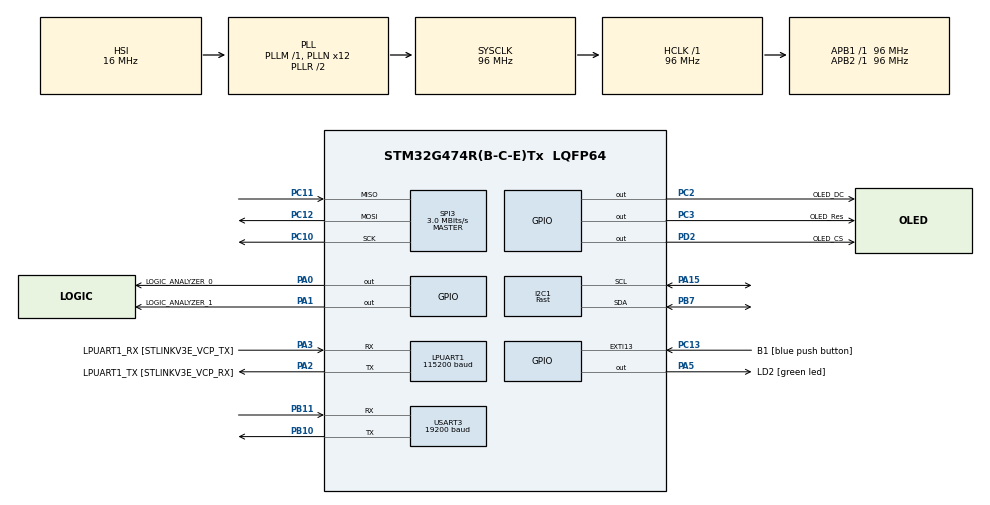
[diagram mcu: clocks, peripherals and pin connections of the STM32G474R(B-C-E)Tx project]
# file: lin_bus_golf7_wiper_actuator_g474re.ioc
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Dma.LPUART1_TX.2.Direction=DMA_MEMORY_TO_PERIPH
Dma.LPUART1_TX.2.EventEnable=DISABLE
Dma.LPUART1_TX.2.Instance=DMA1_Channel4
Dma.LPUART1_TX.2.MemDataAlignment=DMA_MDATAALIGN_BYTE
Dma.LPUART1_TX.2.MemInc=DMA_MINC_ENABLE
Dma.LPUART1_TX.2.Mode=DMA_NORMAL
Dma.LPUART1_TX.2.PeriphDataAlignment=DMA_PDATAALIGN_BYTE
Dma.LPUART1_TX.2.PeriphInc=DMA_PINC_DISABLE
Dma.LPUART1_TX.2.Polarity=HAL_DMAMUX_REQ_GEN_RISING
Dma.LPUART1_TX.2.Priority=DMA_PRIORITY_LOW
Dma.LPUART1_TX.2.RequestNumber=1
Dma.LPUART1_TX.2.SignalID=NONE
Dma.LPUART1_TX.2.SyncEnable=DISABLE
Dma.LPUART1_TX.2.SyncPolarity=HAL_DMAMUX_SYNC_NO_EVENT
Dma.LPUART1_TX.2.SyncRequestNumber=1
Dma.LPUART1_TX.2.SyncSignalID=NONE
Dma.Request0=USART3_RX
Dma.Request1=USART3_TX
Dma.Request2=LPUART1_TX
Dma.USART3_RX.0.Direction=DMA_PERIPH_TO_MEMORY
Dma.USART3_RX.0.EventEnable=DISABLE
Dma.USART3_RX.0.Instance=DMA1_Channel1
Dma.USART3_RX.0.MemDataAlignment=DMA_MDATAALIGN_BYTE
Dma.USART3_RX.0.MemInc=DMA_MINC_ENABLE
Dma.USART3_RX.0.Mode=DMA_NORMAL
Dma.USART3_RX.0.PeriphDataAlignment=DMA_PDATAALIGN_BYTE
Dma.USART3_RX.0.PeriphInc=DMA_PINC_DISABLE
Dma.USART3_RX.0.Polarity=HAL_DMAMUX_REQ_GEN_RISING
Dma.USART3_RX.0.Priority=DMA_PRIORITY_LOW
Dma.USART3_RX.0.RequestNumber=1
Dma.USART3_RX.0.SignalID=NONE
Dma.USART3_RX.0.SyncEnable=DISABLE
Dma.USART3_RX.0.SyncPolarity=HAL_DMAMUX_SYNC_NO_EVENT
Dma.USART3_RX.0.SyncRequestNumber=1
Dma.USART3_RX.0.SyncSignalID=NONE
Dma.USART3_TX.1.Direction=DMA_MEMORY_TO_PERIPH
Dma.USART3_TX.1.EventEnable=DISABLE
Dma.USART3_TX.1.Instance=DMA1_Channel2
Dma.USART3_TX.1.MemDataAlignment=DMA_MDATAALIGN_BYTE
Dma.USART3_TX.1.MemInc=DMA_MINC_ENABLE
Dma.USART3_TX.1.Mode=DMA_NORMAL
Dma.USART3_TX.1.PeriphDataAlignment=DMA_PDATAALIGN_BYTE
Dma.USART3_TX.1.PeriphInc=DMA_PINC_DISABLE
Dma.USART3_TX.1.Polarity=HAL_DMAMUX_REQ_GEN_RISING
Dma.USART3_TX.1.Priority=DMA_PRIORITY_LOW
Dma.USART3_TX.1.RequestNumber=1
Dma.USART3_TX.1.SignalID=NONE
Dma.USART3_TX.1.SyncEnable=DISABLE
Dma.USART3_TX.1.SyncPolarity=HAL_DMAMUX_SYNC_NO_EVENT
Dma.USART3_TX.1.SyncRequestNumber=1
Dma.USART3_TX.1.SyncSignalID=NONE
I2C1.I2C_Speed_Mode=I2C_Fast
I2C1.Timing=0x20611033
LPUART1.BaudRate=115200
LPUART1.WordLength=UART_WORDLENGTH_8B
Mcu.Family=STM32G4
Mcu.Name=STM32G474R(B-C-E)Tx
Mcu.Package=LQFP64
NVIC.DMA1_Channel1_IRQn=true\:0\:0\:false\:false\:true\:false\:true\:true
NVIC.DMA1_Channel2_IRQn=true\:0\:0\:false\:false\:true\:false\:true\:true
NVIC.DMA1_Channel4_IRQn=true\:0\:0\:false\:false\:true\:false\:true\:true
NVIC.EXTI15_10_IRQn=true\:0\:0\:false\:false\:true\:true\:true\:true
NVIC.PriorityGroup=NVIC_PRIORITYGROUP_4
NVIC.USART3_IRQn=true\:0\:0\:false\:false\:true\:true\:true\:true
PA0.GPIO_Label=LOGIC_ANALYZER_0
PA0.Signal=GPIO_Output
PA1.GPIO_Label=LOGIC_ANALYZER_1
PA1.Signal=GPIO_Output
PA13.GPIO_Label=T_SWDIO
PA13.Mode=Serial_Wire
PA13.Signal=SYS_JTMS-SWDIO
PA14.GPIO_Label=T_SWCLK
PA14.Mode=Serial_Wire
PA14.Signal=SYS_JTCK-SWCLK
PA15.Mode=I2C
PA15.Signal=I2C1_SCL
PA2.GPIO_Label=LPUART1_TX [STLINKV3E_VCP_RX]
PA2.Mode=Asynchronous
PA2.Signal=LPUART1_TX
PA3.GPIO_Label=LPUART1_RX [STLINKV3E_VCP_TX]
PA3.Mode=Asynchronous
PA3.Signal=LPUART1_RX
PA5.GPIO_Label=LD2 [green led]
PA5.Signal=GPIO_Output
PB10.Mode=LIN
PB10.Signal=USART3_TX
PB11.GPIO_PuPd=GPIO_PULLUP
PB11.Mode=LIN
PB11.Signal=USART3_RX
PB3.GPIO_Label=T_SWO
PB3.Signal=SYS_JTDO-SWO
PB7.Mode=I2C
PB7.Signal=I2C1_SDA
PC10.Mode=Full_Duplex_Master
PC10.Signal=SPI3_SCK
PC11.Mode=Full_Duplex_Master
PC11.Signal=SPI3_MISO
PC12.Mode=Full_Duplex_Master
PC12.Signal=SPI3_MOSI
PC13.GPIO_Label=B1 [blue push button]
PC13.Signal=GPXTI13
PC14-OSC32_IN.Mode=LSE-External-Oscillator
PC14-OSC32_IN.Signal=RCC_OSC32_IN
PC15-OSC32_OUT.Mode=LSE-External-Oscillator
PC15-OSC32_OUT.Signal=RCC_OSC32_OUT
PC2.GPIO_Label=OLED_DC
PC2.Signal=GPIO_Output
PC3.GPIO_Label=OLED_Res
PC3.Signal=GPIO_Output
PD2.GPIO_Label=OLED_CS
PD2.Signal=GPIO_Output
PF0-OSC_IN.Mode=HSE-External-Oscillator
PF0-OSC_IN.Signal=RCC_OSC_IN
PF1-OSC_OUT.Mode=HSE-External-Oscillator
PF1-OSC_OUT.Signal=RCC_OSC_OUT
ProjectManager.HeapSize=0x200
ProjectManager.StackSize=0x400
ProjectManager.TargetToolchain=STM32CubeIDE
RCC.ADC12Freq_Value=96000000
RCC.ADC345Freq_Value=96000000
RCC.AHBFreq_Value=96000000
RCC.APB1Freq_Value=96000000
RCC.APB1TimFreq_Value=96000000
RCC.APB2Freq_Value=96000000
RCC.APB2TimFreq_Value=96000000
RCC.CortexFreq_Value=96000000
RCC.EXTERNAL_CLOCK_VALUE=12288000
RCC.HCLKFreq_Value=96000000
RCC.HSE_VALUE=24000000
RCC.HSI48_VALUE=48000000
RCC.HSI_VALUE=16000000
RCC.PLLN=12
RCC.PLLQ=RCC_PLLQ_DIV4
RCC.RTCClockSelection=RCC_RTCCLKSOURCE_LSE
RCC.SYSCLKFreq_VALUE=96000000
RCC.SYSCLKSource=RCC_SYSCLKSOURCE_PLLCLK
RCC.USBFreq_Value=48000000
RCC.VCOOutputFreq_Value=192000000
SPI3.BaudRatePrescaler=SPI_BAUDRATEPRESCALER_32
SPI3.CalculateBaudRate=3.0 MBits/s
SPI3.DataSize=SPI_DATASIZE_8BIT
SPI3.Direction=SPI_DIRECTION_2LINES
SPI3.Mode=SPI_MODE_MASTER
SPI3.VirtualType=VM_MASTER
USART3.BaudRate=19200
USART3.MSBFirstParam=ADVFEATURE_MSBFIRST_DISABLE
USART3.Mode=MODE_TX_RX
USART3.VirtualMode-LIN=VM_LIN
VP_SYS_VS_DBSignals.Mode=DisableDeadBatterySignals
board=NUCLEO-G474RE

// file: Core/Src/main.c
/* USER CODE BEGIN Header */
/**
 ******************************************************************************
 * @file           : main.c
 * @brief          : Main program body
 ******************************************************************************
 * @attention
 *
 * Copyright (c) 2024 STMicroelectronics.
 * All rights reserved.
 *
 * This software is licensed under terms that can be found in the LICENSE file
 * in the root directory of this software component.
 * If no LICENSE file comes with this software, it is provided AS-IS.
 *
 ******************************************************************************
 */
/* USER CODE END Header */
#include "main.h"
#include "dma.h"
#include "i2c.h"
#include "usart.h"
#include "spi.h"
#include "gpio.h"

/* USER CODE BEGIN Includes */
#include <stdbool.h>
#include <stddef.h>
#include <stdio.h>
#include <stdlib.h>
#include <string.h>

#include "ssd1306.h"

// https://github.com/nayuki/QR-Code-generator
// https://www.nayuki.io/page/qr-code-generator-library
#include "qrcodegen.h"

/* USER CODE END Includes */

/* USER CODE BEGIN PD */
#define LIN_SEND_PERIOD 80
#define TX_BUFFER_SIZE 11
#define RX_BUFFER_SIZE 10

#define INT_MODE_ON 1
#define INT_MODE_OFF 0
#define INT_SPD1 1
#define INT_SPD2 5
#define INT_SPD3 9
#define INT_SPD4 13

#define SPD1_MODE_OFF 0
#define SPD1_MODE_ON 1
#define SPD2_MODE_OFF 0
#define SPD2_MODE_ON 1

#define SST_MODE_OFF 0
#define SST_MODE_ON 1
#define SST_MANUAL_INTERVAL 8000

#define NUM_OF_MODES 9

#define USE_OLED

/* USER CODE END PD */

/* USER CODE BEGIN PV */
const char *wiper_mode_name[] =
{ "INT1", "INT2", "INT3", "INT4", "SPD1", "SPD2", "SST", "STOP", "OFF" };
/* USER CODE END PV */

void SystemClock_Config(void);
/* USER CODE BEGIN PFP */

// https://controllerstech.com/stm32-uart-8-lin-protocol-part-1/
// https://controllerstech.com/stm32-uart-9-lin-protocol-part-2/
// https://controllerstech.com/stm32-uart-10-lin-protocol-part-3/
uint8_t Pid_Calc(uint8_t ID);
uint8_t Checksum_Calc(uint8_t PID, uint8_t *data, uint8_t size);

static void showPartDatasheet(void);
static void printQr(const uint8_t qrcode[]);
static void displayQr(const uint8_t qrcode[]);

#ifdef __GNUC__
#define PUTCHAR_PROTOTYPE int __io_putchar(int ch)
#else
#define PUTCHAR_PROTOTYPE int fputc(int ch, FILE *f)
#endif

PUTCHAR_PROTOTYPE
{
	HAL_UART_Transmit(&hlpuart1, (uint8_t*) &ch, 1, HAL_MAX_DELAY);
	return ch;
}
/* USER CODE END PFP */

/* USER CODE BEGIN 0 */

uint8_t txData[TX_BUFFER_SIZE];
uint8_t rxData[RX_BUFFER_SIZE];

uint32_t LinSendSoftTimer;

uint8_t golf7counter = 0;

uint8_t wiper_mode = 0;

uint32_t rng_number;

volatile uint8_t lin_data_received_flag = 0;

uint8_t single_stroke_flag = 0;
uint32_t SingleStrokeSoftTimer;

extern DMA_HandleTypeDef hdma_usart3_rx;

uint8_t lcd_line[64];
uint32_t uart_message_length;

/* USER CODE END 0 */

int main(void)
{

  /* MCU Configuration--------------------------------------------------------*/

  /* Reset of all peripherals, Initializes the Flash interface and the Systick. */
  HAL_Init();

  /* Configure the system clock */
  SystemClock_Config();

  /* Initialize all configured peripherals */
  MX_GPIO_Init();
  MX_DMA_Init();
  MX_LPUART1_UART_Init();
  MX_USART3_UART_Init();
  MX_I2C1_Init();
  MX_SPI3_Init();
  /* USER CODE BEGIN 2 */

#ifdef USE_OLED
	ssd1306_Init();

	showPartDatasheet();
	HAL_Delay(3000);

	ssd1306_Fill(Black);
	ssd1306_SetCursor(20, 2);
	ssd1306_WriteString("ufnalski.edu.pl", Font_6x8, White);
	ssd1306_SetCursor(18, 12);
	ssd1306_WriteString("LIN 2.0 bus demo", Font_6x8, White);
	ssd1306_SetCursor(13, 22);
	ssd1306_WriteString("VW Golf VII wiper", Font_6x8, White);
	ssd1306_UpdateScreen();
#endif

	LinSendSoftTimer = HAL_GetTick();
	SingleStrokeSoftTimer = HAL_GetTick();

  /* USER CODE END 2 */

  /* Infinite loop */
  /* USER CODE BEGIN WHILE */
	while (1)
	{

		// manual trigger simulation
		if (HAL_GetTick() - SingleStrokeSoftTimer > SST_MANUAL_INTERVAL)
		{
			SingleStrokeSoftTimer = HAL_GetTick();
			single_stroke_flag = 0;
		}

		if (lin_data_received_flag == 1)
		{
			lin_data_received_flag = 0;
//			HAL_UART_Transmit(&hlpuart1, rxData, RX_BUFFER_SIZE, 10);
//			HAL_UART_Transmit(&hlpuart1, (uint8_t *)"\r\n", sizeof("\r\n"), 10);
			uart_message_length = sprintf((char*) lcd_line,
					"Rx %02X %02X %02X %02X %02X %02X", rxData[3], rxData[4],
					rxData[5], rxData[6], rxData[7], rxData[8]);
			HAL_UART_Transmit(&hlpuart1, lcd_line, uart_message_length, 10);
			HAL_UART_Transmit(&hlpuart1, (uint8_t*) "\r\n", sizeof("\r\n"), 10);
#ifdef USE_OLED
			ssd1306_SetCursor(2, 55);
			ssd1306_WriteString((char*) lcd_line, Font_6x8, White);
			ssd1306_UpdateScreen();
#endif
		}

		if (HAL_GetTick() - LinSendSoftTimer > LIN_SEND_PERIOD)
		{
			LinSendSoftTimer = HAL_GetTick();

			if (golf7counter == 16)
			{
				golf7counter = 0;
			}
			// send status
			txData[0] = 0x55;  // sync field

			txData[1] = Pid_Calc(0x31);

			txData[2] = (0x30 | (golf7counter & 0x0F)); // byte 0

			switch (wiper_mode)
			{
			case 0: // INT1
				txData[3] =
						((SST_MODE_OFF << 4) | (INT_MODE_ON << 5)
								| (SPD1_MODE_OFF << 6) | (SPD2_MODE_OFF << 7)
								| INT_SPD1);
				break;
			case 1: // INT2
				txData[3] =
						((SST_MODE_OFF << 4) | (INT_MODE_ON << 5)
								| (SPD1_MODE_OFF << 6) | (SPD2_MODE_OFF << 7)
								| INT_SPD2);
				break;
			case 2: // INT3
				txData[3] =
						((SST_MODE_OFF << 4) | (INT_MODE_ON << 5)
								| (SPD1_MODE_OFF << 6) | (SPD2_MODE_OFF << 7)
								| INT_SPD3);
				break;
			case 3: // INT4
				txData[3] =
						((SST_MODE_OFF << 4) | (INT_MODE_ON << 5)
								| (SPD1_MODE_OFF << 6) | (SPD2_MODE_OFF << 7)
								| INT_SPD4);
				break;
			case 4: // SPD1 (slower)
				txData[3] = ((SST_MODE_OFF << 4) | (INT_MODE_OFF << 5)
						| (SPD1_MODE_ON << 6) | (SPD2_MODE_OFF << 7) | 0);
				break;
			case 5: // SPD2 (faster)
				txData[3] = ((SST_MODE_OFF << 4) | (INT_MODE_OFF << 5)
						| (SPD1_MODE_OFF << 6) | (SPD2_MODE_ON << 7) | 0);
				break;
			case 6: // SST
				if (single_stroke_flag == 0)
				{
					single_stroke_flag = 1;
					txData[3] = ((SST_MODE_ON << 4) | (INT_MODE_OFF << 5)
							| (SPD1_MODE_OFF << 6) | (SPD2_MODE_OFF << 7) | 0);
				}
				else
				{
					txData[3] = ((SST_MODE_OFF << 4) | (INT_MODE_OFF << 5)
							| (SPD1_MODE_OFF << 6) | (SPD2_MODE_OFF << 7) | 0);
				}
				break;
			case 7: // STOP
				txData[3] = ((SST_MODE_OFF << 4) | (INT_MODE_OFF << 5)
						| (SPD1_MODE_OFF << 6) | (SPD2_MODE_OFF << 7) | 0);
				break;
			case 8: // OFF
				txData[2] = (0x00 | (golf7counter & 0x0F));
				txData[3] = 0x00;
				break;
			default:
				txData[3] = 0x00;  // byte 1
			}

			txData[4] = 0x00;
			txData[5] = 0x00;
			txData[6] = 0x00;
			txData[7] = 0x00;
			txData[8] = 0x00;
			txData[9] = 0x00; // byte 7

			txData[10] = Checksum_Calc(txData[1], txData + 2, 8); // lin 2.0/2.1 includes PID

			HAL_LIN_SendBreak(&huart3);
			HAL_UART_Transmit(&huart3, txData, 11, 100);

#ifdef USE_OLED
			ssd1306_SetCursor(2, 32);
			sprintf((char*) lcd_line, "actuator mode %s ",
					wiper_mode_name[wiper_mode]);
			ssd1306_WriteString((char*) lcd_line, Font_6x8, White);

			ssd1306_SetCursor(2, 45);
			sprintf((char*) lcd_line, "Tx %02X %02X %02X %02X %02X %02X",
					txData[2], txData[3], txData[4], txData[5], txData[6],
					txData[7]);
			ssd1306_WriteString((char*) lcd_line, Font_6x8, White);

			ssd1306_UpdateScreen();
#endif

			golf7counter++;

			HAL_Delay(5);
			// ask for diagnostics
			txData[0] = 0x55;  // sync field
			txData[1] = Pid_Calc(0x32);

			memset(rxData, 0x00, RX_BUFFER_SIZE);
			HAL_UARTEx_ReceiveToIdle_DMA(&huart3, rxData, RX_BUFFER_SIZE);
			__HAL_DMA_DISABLE_IT(&hdma_usart3_rx, DMA_IT_HT);

			HAL_LIN_SendBreak(&huart3);
			HAL_UART_Transmit_DMA(&huart3, txData, 2);
		}
    /* USER CODE END WHILE */

	}
}

void SystemClock_Config(void)
{
  RCC_OscInitTypeDef RCC_OscInitStruct = {0};
  RCC_ClkInitTypeDef RCC_ClkInitStruct = {0};

  /** Configure the main internal regulator output voltage
  */
  HAL_PWREx_ControlVoltageScaling(PWR_REGULATOR_VOLTAGE_SCALE1);

  /** Initializes the RCC Oscillators according to the specified parameters
  * in the RCC_OscInitTypeDef structure.
  */
  RCC_OscInitStruct.OscillatorType = RCC_OSCILLATORTYPE_HSI;
  RCC_OscInitStruct.HSIState = RCC_HSI_ON;
  RCC_OscInitStruct.HSICalibrationValue = RCC_HSICALIBRATION_DEFAULT;
  RCC_OscInitStruct.PLL.PLLState = RCC_PLL_ON;
  RCC_OscInitStruct.PLL.PLLSource = RCC_PLLSOURCE_HSI;
  RCC_OscInitStruct.PLL.PLLM = RCC_PLLM_DIV1;
  RCC_OscInitStruct.PLL.PLLN = 12;
  RCC_OscInitStruct.PLL.PLLP = RCC_PLLP_DIV2;
  RCC_OscInitStruct.PLL.PLLQ = RCC_PLLQ_DIV4;
  RCC_OscInitStruct.PLL.PLLR = RCC_PLLR_DIV2;
  if (HAL_RCC_OscConfig(&RCC_OscInitStruct) != HAL_OK)
  {
    Error_Handler();
  }

  /** Initializes the CPU, AHB and APB buses clocks
  */
  RCC_ClkInitStruct.ClockType = RCC_CLOCKTYPE_HCLK|RCC_CLOCKTYPE_SYSCLK
                              |RCC_CLOCKTYPE_PCLK1|RCC_CLOCKTYPE_PCLK2;
  RCC_ClkInitStruct.SYSCLKSource = RCC_SYSCLKSOURCE_PLLCLK;
  RCC_ClkInitStruct.AHBCLKDivider = RCC_SYSCLK_DIV1;
  RCC_ClkInitStruct.APB1CLKDivider = RCC_HCLK_DIV1;
  RCC_ClkInitStruct.APB2CLKDivider = RCC_HCLK_DIV1;

  if (HAL_RCC_ClockConfig(&RCC_ClkInitStruct, FLASH_LATENCY_3) != HAL_OK)
  {
    Error_Handler();
  }
}

/* USER CODE BEGIN 4 */
void HAL_GPIO_EXTI_Callback(uint16_t GPIO_Pin)
{
	if (GPIO_Pin == B1_Pin)
	{
		wiper_mode++;
		wiper_mode %= NUM_OF_MODES;
//		HAL_GPIO_TogglePin(LD2_GPIO_Port, LD2_Pin);
	}
}

void HAL_UART_RxCpltCallback(UART_HandleTypeDef *huart)
{
	if (huart->Instance == USART3)
	{
		lin_data_received_flag = 1;
//		HAL_GPIO_TogglePin(LD2_GPIO_Port, LD2_Pin);
	}
}

uint8_t Pid_Calc(uint8_t ID)
{
	if (ID > 0x3F)
		Error_Handler();
	uint8_t IDBuf[6];
	for (int i = 0; i < 6; i++)
	{
		IDBuf[i] = (ID >> i) & 0x01;
	}

	uint8_t P0 = (IDBuf[0] ^ IDBuf[1] ^ IDBuf[2] ^ IDBuf[4]) & 0x01;
	uint8_t P1 = ~((IDBuf[1] ^ IDBuf[3] ^ IDBuf[4] ^ IDBuf[5]) & 0x01);

	ID = ID | (P0 << 6) | (P1 << 7);
	return ID;
}

uint8_t Checksum_Calc(uint8_t PID, uint8_t *data, uint8_t size)
{
	uint8_t buffer[size + 2];
	uint16_t sum = 0;
	buffer[0] = PID;
	for (int i = 0; i < size; i++)
	{
		buffer[i + 1] = data[i];
	}

	for (int i = 0; i < size + 1; i++)
	{
		sum = sum + buffer[i];
		if (sum > 0xff)
			sum = sum - 0xff;
	}

	sum = 0xff - sum;
	return sum;
}

static void showPartDatasheet(void)
{
	//const char *text = "Enjoy your life. There is no second take on it.";
	const char *text = "https://allegro.pl/listing?string=5G1955119A";
	enum qrcodegen_Ecc errCorLvl = qrcodegen_Ecc_LOW;  // Error correction level

	// Make and print the QR Code symbol
	uint8_t qrcode[qrcodegen_BUFFER_LEN_MAX];
	uint8_t tempBuffer[qrcodegen_BUFFER_LEN_MAX];
	bool ok = qrcodegen_encodeText(text, tempBuffer, qrcode, errCorLvl,
	qrcodegen_VERSION_MIN, qrcodegen_VERSION_MAX, qrcodegen_Mask_AUTO, true);
	if (ok)
		printQr(qrcode);
	displayQr(qrcode);

}

static void printQr(const uint8_t qrcode[])
{
	int size = qrcodegen_getSize(qrcode);
	int border = 4;
	for (int y = -border; y < size + border; y++)
	{
		for (int x = -border; x < size + border; x++)
		{
			printf("%s", qrcodegen_getModule(qrcode, x, y) ? "##" : "  ");
		}
		printf("\r\n");
	}
	printf("\r\n");
}

static void displayQr(const uint8_t qrcode[])
{
	int size = qrcodegen_getSize(qrcode);
	int border = 4;
	ssd1306_Fill(Black);
	for (int y = -border; y < size + border; y++)
	{
		for (int x = -border; x < size + border; x++)
		{
			if (qrcodegen_getModule(qrcode, x, y) == 1)
			{
				ssd1306_DrawPixel(2 * x + 40, 2 * y + 2, White);
				ssd1306_DrawPixel(2 * x + 1 + 40, 2 * y + 1 + 2, White);
				ssd1306_DrawPixel(2 * x + 40, 2 * y + 1 + 2, White);
				ssd1306_DrawPixel(2 * x + 1 + 40, 2 * y + 2, White);
				//ssd1306_FillRectangle(x, y, x+1, y+1,White);
			}
			//	printf("%s",qrcodegen_getModule(qrcode, x, y) ? "##" : "  ");
		}
		//	printf("\r\n");
	}
//	printf("\r\n");
	ssd1306_UpdateScreen();
}
/* USER CODE END 4 */

void Error_Handler(void)
{
	__disable_irq();
	while (1)
	{
	}
}
